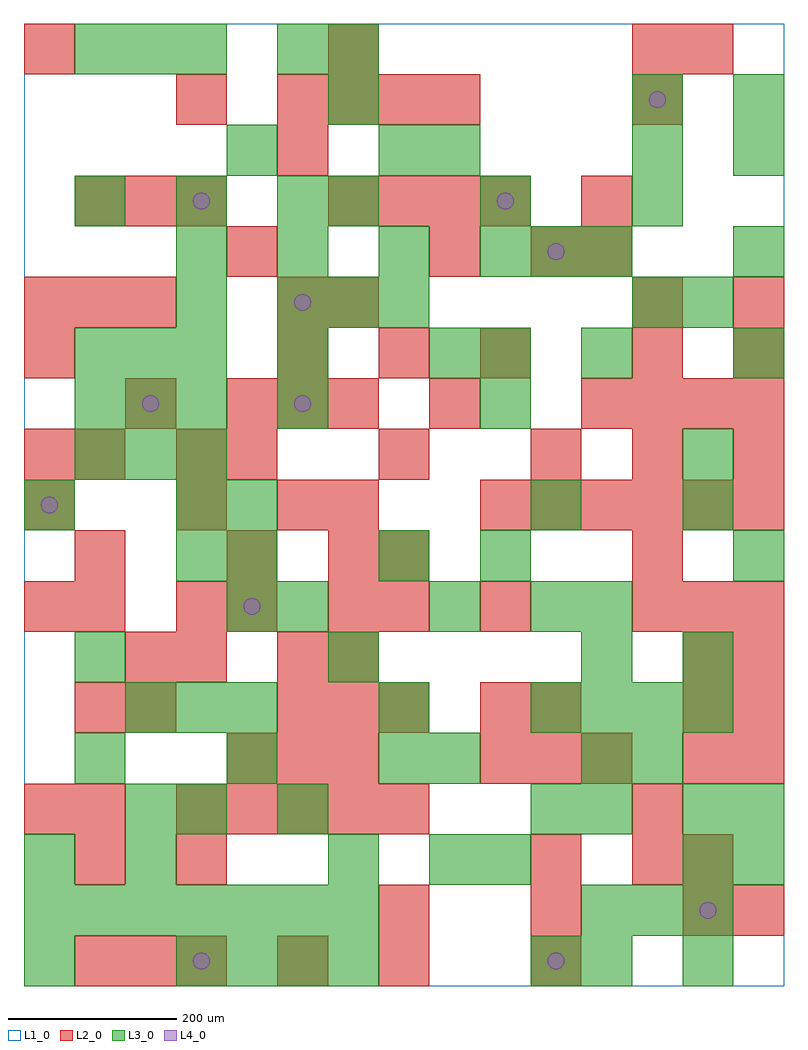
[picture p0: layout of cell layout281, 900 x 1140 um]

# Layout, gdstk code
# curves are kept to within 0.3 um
import gdstk
lib = gdstk.Library(unit=1e-6, precision=1e-09)
def R(c, l, rs):  # rectangles x0, y0, x1, y1
    for r in rs: c.add(gdstk.rectangle(r[:2], r[2:], *l))
def A(c, l, x, y, w, h, nx, ny, dx, dy):  # array of equal rectangles
    R(c, l, [(x+i*dx, y+j*dy, x+i*dx+w, y+j*dy+h) for i in range(nx) for j in range(ny)])
def P(c, l, *ps):  # polygons
    for p in ps: c.add(gdstk.Polygon(p, *l))
L1_0 = (1, 0)
L2_0 = (2, 0)
L3_0 = (3, 0)
L4_0 = (4, 0)

layout281 = lib.new_cell('layout281')
R(layout281, L1_0, [(0,0,900,1140)])
A(layout281, L2_0, 60, 0, 60, 60, 3, 2, 60, 900)
A(layout281, L2_0, 420, 60, 60, 60, 3, 1, 180, 0)
A(layout281, L2_0, 60, 180, 60, 60, 1, 3, 0, 120)
A(layout281, L2_0, 180, 180, 60, 60, 5, 1, 60, 0)
A(layout281, L2_0, 240, 240, 60, 60, 3, 2, 60, 420)
A(layout281, L2_0, 540, 240, 60, 60, 3, 1, 60, 0)
A(layout281, L2_0, 780, 240, 60, 60, 1, 3, 0, 60)
A(layout281, L2_0, 840, 240, 60, 60, 1, 3, 0, 60)
A(layout281, L2_0, 300, 300, 60, 60, 3, 1, 60, 0)
A(layout281, L2_0, 360, 360, 60, 60, 1, 4, 0, 60)
A(layout281, L2_0, 720, 420, 60, 60, 3, 1, 60, 0)
A(layout281, L2_0, 720, 480, 60, 60, 1, 3, 0, 120)
A(layout281, L2_0, 540, 540, 60, 60, 6, 1, 60, 0)
A(layout281, L2_0, 240, 600, 60, 60, 3, 1, 180, 0)
A(layout281, L2_0, 660, 660, 60, 60, 4, 1, 60, 0)
A(layout281, L2_0, 300, 720, 60, 60, 3, 1, 120, 0)
A(layout281, L2_0, 0, 780, 60, 60, 3, 1, 60, 0)
A(layout281, L2_0, 360, 900, 60, 60, 4, 1, 60, 0)
A(layout281, L2_0, 300, 1020, 60, 60, 4, 1, 60, 0)
A(layout281, L2_0, 0, 1080, 60, 60, 3, 1, 360, 0)
R(layout281, L2_0, [(300,0,360,60), (420,0,480,60), (600,0,660,60), (840,60,900,120), (60,120,120,180), (180,120,240,180), (600,120,660,180), (720,120,780,180), (780,120,840,180), (0,180,60,240), (720,180,780,240), (120,300,180,360), (540,300,600,360), (600,300,660,360), (120,360,180,420), (180,360,240,420), (300,360,360,420), (0,420,60,480), (180,420,240,480), (240,420,300,480), (420,420,480,480), (540,420,600,480), (60,480,120,540), (240,480,300,540), (420,480,480,540), (0,540,60,600), (180,540,240,600), (300,540,360,600), (0,600,60,660), (60,600,120,660), (180,600,240,660), (840,600,900,660), (120,660,180,720), (480,660,540,720), (0,720,60,780), (840,720,900,780), (300,780,360,840), (360,780,420,840), (720,780,780,840), (840,780,900,840), (240,840,300,900), (480,840,540,900), (600,840,660,900), (660,840,720,900), (660,900,720,960), (300,960,360,1020), (180,1020,240,1080), (720,1020,780,1080), (780,1080,840,1140)])
A(layout281, L3_0, 180, 0, 60, 60, 4, 1, 60, 0)
A(layout281, L3_0, 0, 60, 60, 60, 7, 1, 60, 0)
A(layout281, L3_0, 660, 60, 60, 60, 3, 1, 60, 0)
A(layout281, L3_0, 300, 180, 60, 60, 1, 3, 0, 240)
A(layout281, L3_0, 780, 180, 60, 60, 1, 3, 0, 180)
A(layout281, L3_0, 60, 240, 60, 60, 3, 1, 180, 0)
A(layout281, L3_0, 120, 300, 60, 60, 3, 1, 60, 0)
A(layout281, L3_0, 600, 300, 60, 60, 4, 1, 60, 0)
A(layout281, L3_0, 60, 360, 60, 60, 3, 1, 300, 0)
A(layout281, L3_0, 240, 420, 60, 60, 1, 3, 0, 60)
A(layout281, L3_0, 60, 600, 60, 60, 3, 3, 60, 60)
A(layout281, L3_0, 840, 720, 60, 60, 1, 3, 0, 120)
A(layout281, L3_0, 300, 780, 60, 60, 3, 1, 60, 0)
A(layout281, L3_0, 180, 840, 60, 60, 4, 1, 120, 0)
A(layout281, L3_0, 60, 900, 60, 60, 3, 1, 120, 0)
A(layout281, L3_0, 360, 900, 60, 60, 3, 1, 180, 0)
A(layout281, L3_0, 60, 1080, 60, 60, 3, 1, 60, 0)
R(layout281, L3_0, [(0,0,60,60), (600,0,660,60), (660,0,720,60), (780,0,840,60), (0,120,60,180), (120,120,180,180), (360,120,420,180), (480,120,540,180), (540,120,600,180), (780,120,840,180), (840,120,900,180), (120,180,180,240), (180,180,240,240), (600,180,660,240), (660,180,720,240), (840,180,900,240), (480,240,540,300), (660,240,720,300), (720,240,780,300), (420,300,480,360), (480,420,540,480), (600,420,660,480), (660,420,720,480), (180,480,240,540), (420,480,480,540), (540,480,600,540), (840,480,900,540), (0,540,60,600), (180,540,240,600), (600,540,660,600), (780,600,840,660), (540,660,600,720), (300,720,360,780), (480,720,540,780), (540,720,600,780), (660,720,720,780), (180,780,240,840), (720,780,780,840), (780,780,840,840), (600,840,660,900), (660,840,720,900), (240,960,300,1020), (420,960,480,1020), (480,960,540,1020), (720,960,780,1020), (360,1020,420,1080), (720,1020,780,1080), (840,1020,900,1080), (300,1080,360,1140), (360,1080,420,1140)])
P(layout281, L4_0, [(40,570),(39.239,573.827),(37.071,577.071),(33.827,579.239),(30,580),(26.173,579.239),(22.929,577.071),(20.761,573.827),(20,570),(20.761,566.173),(22.929,562.929),(26.173,560.761),(30,560),(33.827,560.761),(37.071,562.929),(39.239,566.173)],
  [(160,690),(159.239,693.827),(157.071,697.071),(153.827,699.239),(150,700),(146.173,699.239),(142.929,697.071),(140.761,693.827),(140,690),(140.761,686.173),(142.929,682.929),(146.173,680.761),(150,680),(153.827,680.761),(157.071,682.929),(159.239,686.173)],
  [(220,30),(219.239,33.827),(217.071,37.071),(213.827,39.239),(210,40),(206.173,39.239),(202.929,37.071),(200.761,33.827),(200,30),(200.761,26.173),(202.929,22.929),(206.173,20.761),(210,20),(213.827,20.761),(217.071,22.929),(219.239,26.173)],
  [(220,930),(219.239,933.827),(217.071,937.071),(213.827,939.239),(210,940),(206.173,939.239),(202.929,937.071),(200.761,933.827),(200,930),(200.761,926.173),(202.929,922.929),(206.173,920.761),(210,920),(213.827,920.761),(217.071,922.929),(219.239,926.173)],
  [(280,450),(279.239,453.827),(277.071,457.071),(273.827,459.239),(270,460),(266.173,459.239),(262.929,457.071),(260.761,453.827),(260,450),(260.761,446.173),(262.929,442.929),(266.173,440.761),(270,440),(273.827,440.761),(277.071,442.929),(279.239,446.173)],
  [(340,690),(339.239,693.827),(337.071,697.071),(333.827,699.239),(330,700),(326.173,699.239),(322.929,697.071),(320.761,693.827),(320,690),(320.761,686.173),(322.929,682.929),(326.173,680.761),(330,680),(333.827,680.761),(337.071,682.929),(339.239,686.173)],
  [(340,810),(339.239,813.827),(337.071,817.071),(333.827,819.239),(330,820),(326.173,819.239),(322.929,817.071),(320.761,813.827),(320,810),(320.761,806.173),(322.929,802.929),(326.173,800.761),(330,800),(333.827,800.761),(337.071,802.929),(339.239,806.173)],
  [(580,930),(579.239,933.827),(577.071,937.071),(573.827,939.239),(570,940),(566.173,939.239),(562.929,937.071),(560.761,933.827),(560,930),(560.761,926.173),(562.929,922.929),(566.173,920.761),(570,920),(573.827,920.761),(577.071,922.929),(579.239,926.173)],
  [(640,30),(639.239,33.827),(637.071,37.071),(633.827,39.239),(630,40),(626.173,39.239),(622.929,37.071),(620.761,33.827),(620,30),(620.761,26.173),(622.929,22.929),(626.173,20.761),(630,20),(633.827,20.761),(637.071,22.929),(639.239,26.173)],
  [(640,870),(639.239,873.827),(637.071,877.071),(633.827,879.239),(630,880),(626.173,879.239),(622.929,877.071),(620.761,873.827),(620,870),(620.761,866.173),(622.929,862.929),(626.173,860.761),(630,860),(633.827,860.761),(637.071,862.929),(639.239,866.173)],
  [(760,1050),(759.239,1053.827),(757.071,1057.071),(753.827,1059.239),(750,1060),(746.173,1059.239),(742.929,1057.071),(740.761,1053.827),(740,1050),(740.761,1046.173),(742.929,1042.929),(746.173,1040.761),(750,1040),(753.827,1040.761),(757.071,1042.929),(759.239,1046.173)],
  [(820,90),(819.239,93.827),(817.071,97.071),(813.827,99.239),(810,100),(806.173,99.239),(802.929,97.071),(800.761,93.827),(800,90),(800.761,86.173),(802.929,82.929),(806.173,80.761),(810,80),(813.827,80.761),(817.071,82.929),(819.239,86.173)])

lib.write_gds('layout281.gds')
